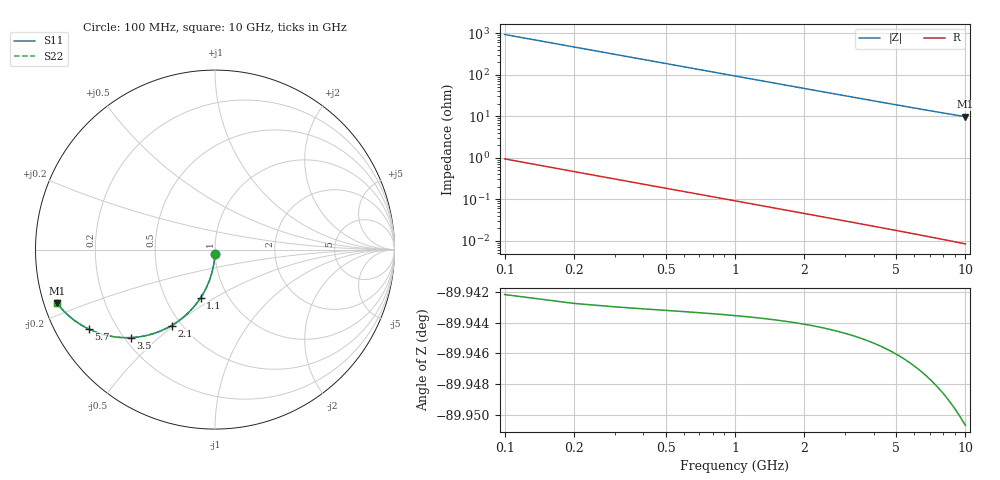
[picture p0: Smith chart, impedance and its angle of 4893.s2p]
# Hz S RI R 50.00
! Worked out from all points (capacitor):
!   100 points, 100 MHz to 10 GHz, reference 50 ohm
!   read as one part in shunt: C = 1.71 pF near 100 MHz
!   lowest |Z| = 9.76 ohm at 10 GHz (marker M1)
!   S11 on the Smith chart (normalised r, x): 100 MHz: 1.00, -0.05; 1.1 GHz: 0.74, -0.43; 2.1 GHz: 0.44, -0.49; 3.5 GHz: 0.22, -0.41; 5.7 GHz: 0.10, -0.29; 10 GHz: 0.04, -0.16
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1e8  -0.000708 -0.0266  0.9992 -0.0271  0.9992 -0.0271  -0.000708 -0.0266
2e8  -0.00289 -0.0531  0.997 -0.0541  0.997 -0.0541  -0.00289 -0.0531
3e8  -0.0065 -0.0794  0.9934 -0.0808  0.9934 -0.0808  -0.0065 -0.0794
4e8  -0.0115 -0.1054  0.9884 -0.1072  0.9884 -0.1072  -0.0115 -0.1054
5e8  -0.0178 -0.1309  0.9821 -0.1332  0.9821 -0.1332  -0.0178 -0.1309
6e8  -0.0255 -0.1558  0.9744 -0.1586  0.9744 -0.1586  -0.0255 -0.1558
7e8  -0.0343 -0.1801  0.9656 -0.1833  0.9656 -0.1833  -0.0343 -0.1801
9e8  -0.0555 -0.2264  0.9444 -0.2306  0.9444 -0.2306  -0.0555 -0.2264
1.1e9  -0.0806 -0.2693  0.9193 -0.2744  0.9193 -0.2744  -0.0806 -0.2693
1.4e9  -0.1243 -0.3263  0.8756 -0.3328  0.8756 -0.3328  -0.1243 -0.3263
1.8e9  -0.1901 -0.3877  0.8098 -0.3961  0.8098 -0.3961  -0.1901 -0.3877
2.1e9  -0.2421 -0.423  0.7578 -0.4328  0.7578 -0.4328  -0.2421 -0.423
2.7e9  -0.3456 -0.4688  0.6542 -0.4814  0.6542 -0.4814  -0.3456 -0.4688
3.4e9  -0.4559 -0.4896  0.5438 -0.5055  0.5438 -0.5055  -0.4559 -0.4896
3.5e9  -0.4704 -0.4904  0.5294 -0.5068  0.5294 -0.5068  -0.4704 -0.4904
4.3e9  -0.5731 -0.484  0.4266 -0.5042  0.4266 -0.5042  -0.5731 -0.484
5.1e9  -0.6542 -0.4629  0.3454 -0.4872  0.3454 -0.4872  -0.6542 -0.4629
5.7e9  -0.703 -0.4427  0.2965 -0.4699  0.2965 -0.4699  -0.703 -0.4427
6.7e9  -0.7664 -0.4063  0.233 -0.4385  0.233 -0.4385  -0.7664 -0.4063
7.5e9  -0.8048 -0.3774  0.1944 -0.4137  0.1944 -0.4137  -0.8048 -0.3774
8.4e9  -0.8385 -0.3465  0.1605 -0.3875  0.1605 -0.3875  -0.8385 -0.3465
1e10  -0.8812 -0.2976  0.1175 -0.347  0.1175 -0.347  -0.8812 -0.2976
